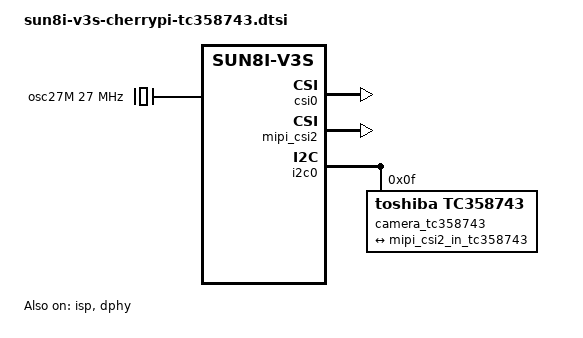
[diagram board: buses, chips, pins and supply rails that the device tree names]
#include <dt-bindings/clock/sun8i-v3s-ccu.h>

/ {
  osc27M: osc27M-clk {
    #clock-cells = <0>;
    compatible = "fixed-clock";
    clock-frequency = <27000000>;
    clock-accuracy = <50000>;
    clock-output-names = "osc27M";
  };
};

&isp {
  status = "okay";
};

&csi0 {
  status = "okay";
};

&mipi_csi2 {
  status = "okay";
};

&mipi_csi2_in {
  mipi_csi2_in_tc358743: endpoint {
    remote-endpoint = <&tc358743_out_mipi_csi2>;
    data-lanes = <1 2>;
  };
};

&dphy {
  status = "okay";
};

&i2c0 {
  pinctrl-names = "default";
  pinctrl-0 = <&i2c0_pins>;
  status = "okay";

  camera_tc358743: tc358743@f {
    compatible = "toshiba,tc358743";
    reg = <0xf>;

    clocks = <&osc27M>;
    clock-names = "refclk";

    status = "okay";

    port {
      tc358743_out_mipi_csi2: endpoint {
        remote-endpoint = <&mipi_csi2_in_tc358743>;
        clock-lanes = <0>;
        clock-noncontinuous;
        link-frequencies = /bits/ 64 <297000000>;
        data-lanes = <1 2>;
      };
    };
  };
};
